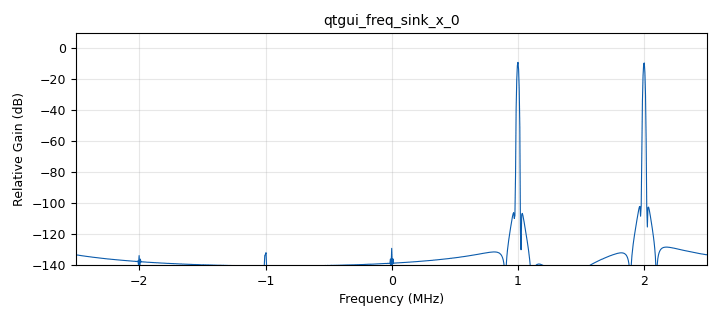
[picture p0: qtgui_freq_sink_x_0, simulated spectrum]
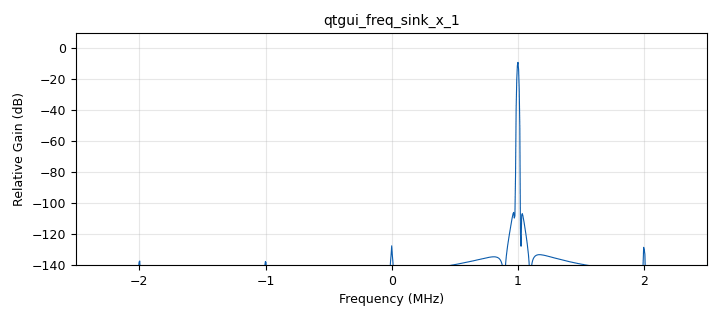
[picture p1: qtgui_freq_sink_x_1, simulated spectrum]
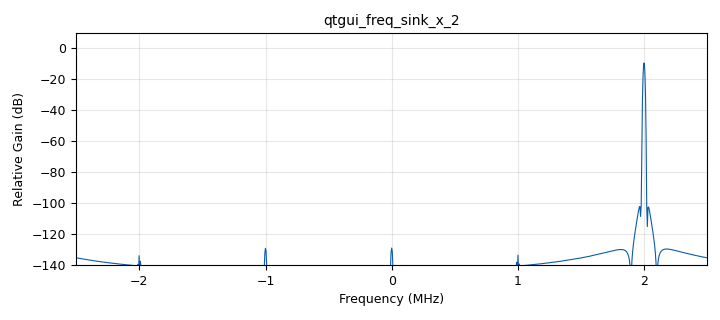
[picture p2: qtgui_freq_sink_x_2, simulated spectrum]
options:
  parameters:
    author: esteban
    generate_options: qt_gui
    id: two_tone_transmit
    output_language: python
    title: Not titled yet
  states: {}

blocks:
- name: samp_rate
  id: variable
  parameters:
    value: 5e6
  states: {}
- name: analog_sig_source_x_0
  id: analog_sig_source_x
  parameters:
    amp: '1'
    freq: 1e6
    offset: '0'
    phase: '0'
    samp_rate: samp_rate
    type: complex
    waveform: analog.GR_COS_WAVE
  states: {}
- name: analog_sig_source_x_1
  id: analog_sig_source_x
  parameters:
    amp: '1'
    freq: 2e6
    offset: '0'
    phase: '0'
    samp_rate: samp_rate
    type: complex
    waveform: analog.GR_COS_WAVE
  states: {}
- name: blocks_add_xx_0
  id: blocks_add_xx
  parameters:
    type: complex
  states: {}
- name: qtgui_freq_sink_x_0
  id: qtgui_freq_sink_x
  parameters:
    bw: samp_rate
    fc: '0'
    fftsize: '1024'
    type: complex
  states: {}
- name: qtgui_freq_sink_x_1
  id: qtgui_freq_sink_x
  parameters:
    bw: samp_rate
    fc: '0'
    fftsize: '1024'
    type: complex
  states: {}
- name: qtgui_freq_sink_x_2
  id: qtgui_freq_sink_x
  parameters:
    bw: samp_rate
    fc: '0'
    fftsize: '1024'
    type: complex
  states: {}
- name: soapy_limesdr_sink_0
  id: soapy_limesdr_sink
  parameters:
    bandwidth: 30e6
    center_freq: 435e6
    gain: '30.0'
    samp_rate: samp_rate
    type: fc32
  states: {}

connections:
- [analog_sig_source_x_0, '0', blocks_add_xx_0, '0']
- [analog_sig_source_x_0, '0', qtgui_freq_sink_x_1, '0']
- [analog_sig_source_x_1, '0', blocks_add_xx_0, '1']
- [analog_sig_source_x_1, '0', qtgui_freq_sink_x_2, '0']
- [blocks_add_xx_0, '0', qtgui_freq_sink_x_0, '0']
- [blocks_add_xx_0, '0', soapy_limesdr_sink_0, '0']

metadata:
  file_format: 1
  grc_version: 3.10.10.0
